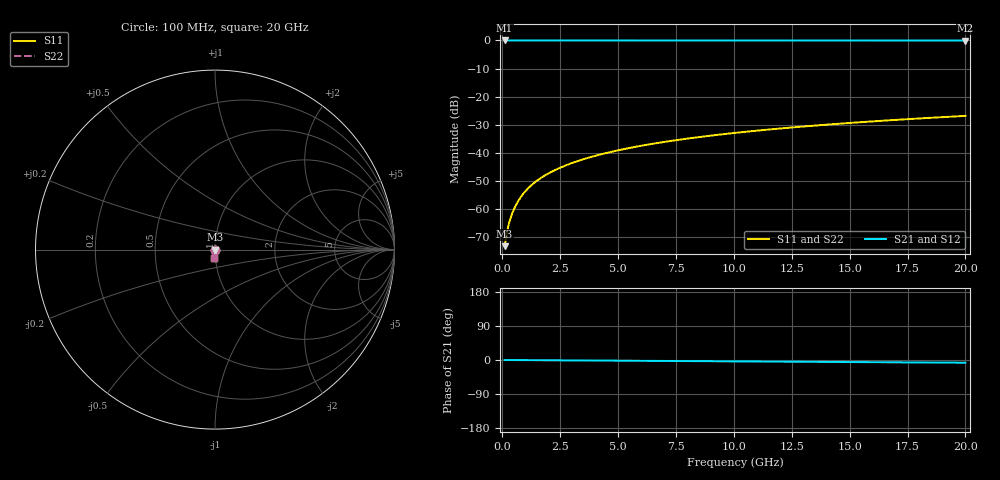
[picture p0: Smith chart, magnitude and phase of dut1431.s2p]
! Touchstone file exported from HFSS 2026.1.0
!  File:  C:/ffzhzh/LocalFiles/Ansys_Project_Files/temp_train_TSV_1431_1783197481_55132.aedt
!  Generated:  04:39:26 AM Jul  5, 2026
!  Design:  TSV
!  Project:  temp_train_TSV_1431_1783197481_55132
! Variables:
!  h_bsmrdl = 2um
!  h_ox = 20um
!  h_rdl = 5um
!  h_sub = 70.07um
!  h_tmrdl = 5um
!  h_tsv = 70.07um
!  h_via = 3um
!  l_bsmrdl = 300um
!  l_sub = 420.3um
!  l_tmrdl = 200um
!  m_sub = 200um
!  pitch = 29.51um
!  r_tsv = 10.15um
!  s_tmrdl = 10um
!  w_bsmrdl = 18um
!  w_sub = 500um
!  w_tmrdl = 12um
!  x_tsv_center1 = 206um
!  x_tsv_center2 = 524um
!  x_tsv_center3 = 736um
!  x_tsv_center4 = 1054um
!  x_tsv_center5 = 1266um
!  x_tsv_center6 = 1584um
# GHz S MA R 50.000000
! Terminal data exported
! Port[1] = TSV1_1_T1
! Port[2] = TSV1_1_T2
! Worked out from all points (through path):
!   200 points, 100 MHz to 20 GHz, reference 50 ohm
!   highest |S21| = 0.00 dB at 100 MHz (marker M1); lowest = 0.0 dB at 20 GHz (marker M2)
!   lowest |S11| = -73.2 dB at 100 MHz (marker M3), VSWR 1.00, Z = 50 - j0.018 ohm
!   |S11| at or under -10 dB: start of sweep to end of sweep
!   |S22| runs from -73.2 to -26.8 dB; largest |S21 - S12| = 2.6e-15
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0.1  0.0002177 -55.9  0.9999 -0.0  0.9999 -0.0  0.0002177 -55.9
! Gamma 0 0 0 0
! Port Impedance 50 0 50 0
0.2  0.0003895 -69.5  0.9999 -0.1  0.9999 -0.1  0.0003895 -69.5
0.3  0.0005779 -74.1  0.9998 -0.1  0.9998 -0.1  0.0005779 -74.1
0.4  0.0007766 -76.4  0.9998 -0.2  0.9998 -0.2  0.0007766 -76.4
0.5  0.0009832 -77.8  0.9998 -0.2  0.9998 -0.2  0.0009832 -77.8
0.7  0.001412 -79.6  0.9997 -0.3  0.9997 -0.3  0.001412 -79.6
0.8  0.001632 -80.4  0.9997 -0.3  0.9997 -0.3  0.001632 -80.4
1  0.002076 -81.6  0.9997 -0.4  0.9997 -0.4  0.002076 -81.6
1.2  0.002523 -82.6  0.9996 -0.4  0.9996 -0.4  0.002523 -82.6
1.4  0.002971 -83.4  0.9996 -0.5  0.9996 -0.5  0.002971 -83.4
1.7  0.003643 -84.3  0.9996 -0.6  0.9996 -0.6  0.003643 -84.3
2  0.004314 -85.1  0.9996 -0.7  0.9996 -0.7  0.004314 -85.1
2.7  0.005883 -86.3  0.9995 -1.0  0.9995 -1.0  0.005883 -86.3
3.5  0.007681 -87.2  0.9994 -1.3  0.9994 -1.3  0.007681 -87.2
4.2  0.009262 -87.9  0.9994 -1.5  0.9994 -1.5  0.009262 -87.9
5  0.01108 -88.4  0.9993 -1.8  0.9993 -1.8  0.01108 -88.4
6.8  0.01518 -89.6  0.9991 -2.5  0.9991 -2.5  0.01518 -89.6
8.3  0.01861 -90.4  0.999 -3.0  0.999 -3.0  0.01861 -90.4
10.1  0.02274 -91.3  0.9988 -3.6  0.9988 -3.6  0.02274 -91.3
13.4  0.03031 -92.8  0.9985 -4.8  0.9985 -4.8  0.03031 -92.8
16.7  0.03788 -94.2  0.9981 -6.0  0.9981 -6.0  0.03788 -94.2
20  0.04545 -95.5  0.9976 -7.2  0.9976 -7.2  0.04545 -95.5
